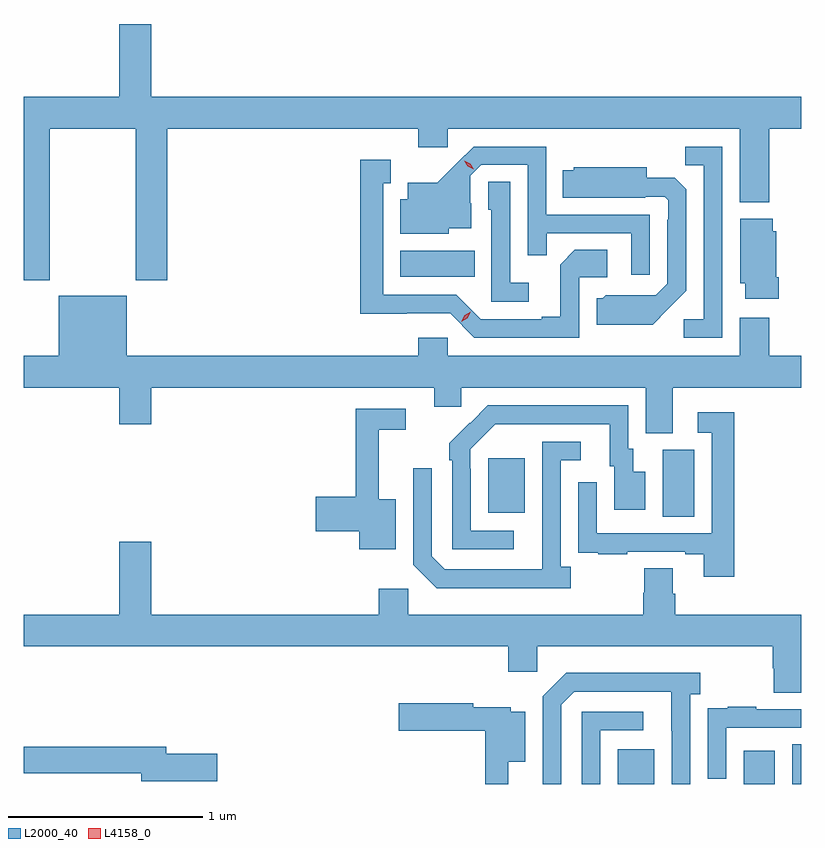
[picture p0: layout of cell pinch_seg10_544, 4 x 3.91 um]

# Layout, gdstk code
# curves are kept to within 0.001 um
import gdstk
lib = gdstk.Library(unit=1e-6, precision=1e-09)
def R(c, l, rs):  # rectangles x0, y0, x1, y1
    for r in rs: c.add(gdstk.rectangle(r[:2], r[2:], *l))
def P(c, l, *ps):  # polygons
    for p in ps: c.add(gdstk.Polygon(p, *l))
L2000_40 = (2000, 40)
L4158_0 = (4158, 0)

pinch_seg10_544 = lib.new_cell('pinch_seg10_544')
R(pinch_seg10_544, L2000_40, [(359.381,1256.984,359.569,1257.163), (360.029,1256.984,360.19,1257.154), (360.278,1256.984,360.325,1257.188), (359.612,1258.36,359.776,1258.704), (358.715,1258.379,358.903,1258.66), (358.262,1259.594,358.646,1259.728)])
P(pinch_seg10_544, L2000_40, [(356.457,1260.356),(356.902,1260.356),(356.902,1259.577),(357.062,1259.577),(357.062,1260.356),(358.355,1260.356),(358.355,1260.261),(358.506,1260.261),(358.506,1260.356),(360.008,1260.356),(360.008,1259.978),(360.161,1259.978),(360.161,1260.356),(360.325,1260.356),(360.325,1260.52),(356.98,1260.52),(356.98,1260.895),(356.816,1260.895),(356.816,1260.52),(356.325,1260.52),(356.325,1259.577),(356.457,1259.577)],
  [(359.547,1259.913),(359.013,1259.913),(359.013,1260.264),(358.64,1260.264),(358.453,1260.079),(358.301,1260.079),(358.301,1259.992),(358.262,1259.992),(358.262,1259.816),(358.512,1259.816),(358.512,1259.843),(358.627,1259.843),(358.627,1259.972),(358.623,1259.972),(358.623,1260.114),(358.68,1260.171),(358.917,1260.171),(358.917,1259.704),(359.015,1259.704),(359.015,1259.817),(359.451,1259.817),(359.451,1259.604),(359.547,1259.604)],
  [(359.919,1260.264),(359.728,1260.264),(359.728,1260.169),(359.823,1260.169),(359.823,1259.376),(359.721,1259.376),(359.721,1259.28),(359.919,1259.28)],
  [(359.184,1259.592),(359.326,1259.592),(359.326,1259.732),(359.161,1259.732),(359.085,1259.656),(359.085,1259.389),(358.991,1259.389),(358.991,1259.376),(358.677,1259.376),(358.551,1259.502),(358.174,1259.502),(358.174,1260.075),(358.213,1260.075),(358.213,1260.196),(358.056,1260.196),(358.056,1259.405),(358.518,1259.406),(358.644,1259.28),(359.184,1259.28)],
  [(359.641,1259.429),(359.733,1259.522),(359.733,1260.044),(359.674,1260.103),(359.53,1260.103),(359.53,1260.157),(359.154,1260.157),(359.154,1260.142),(359.098,1260.142),(359.098,1260.002),(359.522,1260.002),(359.522,1260.006),(359.622,1260.006),(359.64,1259.988),(359.64,1259.888),(359.637,1259.888),(359.637,1259.559),(359.577,1259.499),(359.32,1259.5),(359.304,1259.484),(359.273,1259.484),(359.273,1259.348),(359.561,1259.348)],
  [(358.924,1259.563),(358.827,1259.563),(358.827,1260.083),(358.716,1260.083),(358.716,1259.94),(358.731,1259.94),(358.731,1259.466),(358.924,1259.466)],
  [(360.209,1259.593),(360.196,1259.593),(360.196,1259.829),(360.178,1259.829),(360.178,1259.893),(360.011,1259.893),(360.011,1259.562),(360.038,1259.562),(360.038,1259.481),(360.209,1259.481)],
  [(356.504,1259.188),(356.325,1259.188),(356.325,1259.024),(356.816,1259.024),(356.816,1258.836),(356.98,1258.836),(356.98,1259.024),(358.436,1259.024),(358.436,1258.926),(358.575,1258.926),(358.575,1259.024),(359.525,1259.024),(359.525,1258.789),(359.665,1258.789),(359.665,1259.024),(360.325,1259.024),(360.325,1259.188),(360.161,1259.188),(360.161,1259.383),(360.008,1259.383),(360.008,1259.188),(358.506,1259.188),(358.506,1259.281),(358.355,1259.281),(358.355,1259.188),(356.854,1259.188),(356.854,1259.497),(356.504,1259.497)],
  [(358.846,1258.287),(358.626,1258.287),(358.626,1258.607),(358.623,1258.607),(358.623,1258.707),(358.752,1258.836),(359.339,1258.836),(359.339,1258.62),(359.363,1258.62),(359.363,1258.395),(359.524,1258.395),(359.524,1258.591),(359.461,1258.591),(359.461,1258.71),(359.436,1258.71),(359.436,1258.932),(358.712,1258.932),(358.515,1258.737),(358.515,1258.649),(358.53,1258.649),(358.53,1258.191),(358.846,1258.191)],
  [(358.24,1258.45),(358.151,1258.45),(358.151,1258.806),(358.291,1258.806),(358.291,1258.914),(358.033,1258.914),(358.033,1258.463),(357.828,1258.463),(357.828,1258.285),(358.052,1258.285),(358.052,1258.193),(358.24,1258.193)],
  [(359.981,1258.897),(359.793,1258.897),(359.793,1258.791),(359.865,1258.791),(359.865,1258.275),(359.274,1258.275),(359.274,1258.537),(359.178,1258.537),(359.178,1258.282),(359.179,1258.282),(359.179,1258.173),(359.281,1258.173),(359.281,1258.167),(359.429,1258.167),(359.429,1258.179),(359.729,1258.179),(359.729,1258.167),(359.825,1258.167),(359.825,1258.05),(359.981,1258.05)],
  [(359.14,1258.102),(359.088,1258.102),(359.088,1258.65),(359.191,1258.65),(359.191,1258.746),(358.992,1258.746),(358.992,1258.089),(358.491,1258.089),(358.425,1258.155),(358.425,1258.609),(358.329,1258.609),(358.329,1258.113),(358.45,1257.992),(359.14,1257.992)],
  [(358.151,1257.988),(358.151,1257.856),(356.98,1257.856),(356.98,1258.231),(356.816,1258.231),(356.816,1257.856),(356.325,1257.856),(356.325,1257.692),(358.817,1257.692),(358.817,1257.561),(358.968,1257.561),(358.968,1257.692),(360.179,1257.692),(360.179,1257.579),(360.184,1257.579),(360.184,1257.454),(360.325,1257.454),(360.325,1257.856),(359.678,1257.856),(359.678,1257.962),(359.665,1257.962),(359.665,1258.094),(359.518,1258.094),(359.518,1257.969),(359.513,1257.969),(359.513,1257.856),(358.302,1257.856),(358.302,1257.988)],
  [(359.091,1257.393),(359.157,1257.459),(359.657,1257.459),(359.658,1256.984),(359.754,1256.984),(359.754,1257.446),(359.806,1257.446),(359.806,1257.556),(359.116,1257.556),(358.995,1257.435),(358.995,1256.984),(359.091,1256.984)],
  [(358.817,1257.098),(358.906,1257.098),(358.906,1257.355),(358.83,1257.355),(358.83,1257.379),(358.638,1257.379),(358.638,1257.399),(358.254,1257.399),(358.254,1257.257),(358.699,1257.257),(358.699,1256.984),(358.817,1256.984)],
  [(359.94,1257.273),(360.325,1257.273),(360.325,1257.369),(360.095,1257.369),(360.095,1257.382),(359.947,1257.382),(359.947,1257.375),(359.845,1257.375),(359.845,1257.266),(359.844,1257.266),(359.844,1257.012),(359.94,1257.012)],
  [(359.292,1257.261),(359.512,1257.261),(359.512,1257.357),(359.196,1257.357),(359.196,1256.984),(359.292,1256.984)],
  [(357.319,1257.14),(357.058,1257.14),(357.058,1257.176),(356.325,1257.176),(356.325,1257.04),(356.93,1257.04),(356.93,1256.998),(357.319,1256.998)])
P(pinch_seg10_544, L4158_0, [(358.639,1260.147),(358.609,1260.162),(358.591,1260.191),(358.591,1260.192),(358.591,1260.192),(358.622,1260.177),(358.64,1260.148),(358.64,1260.147)],
  [(358.576,1259.363),(358.576,1259.363),(358.593,1259.396),(358.624,1259.415),(358.625,1259.415),(358.625,1259.415),(358.607,1259.382),(358.576,1259.363)])

lib.write_gds('pinch_seg10_544.gds')
